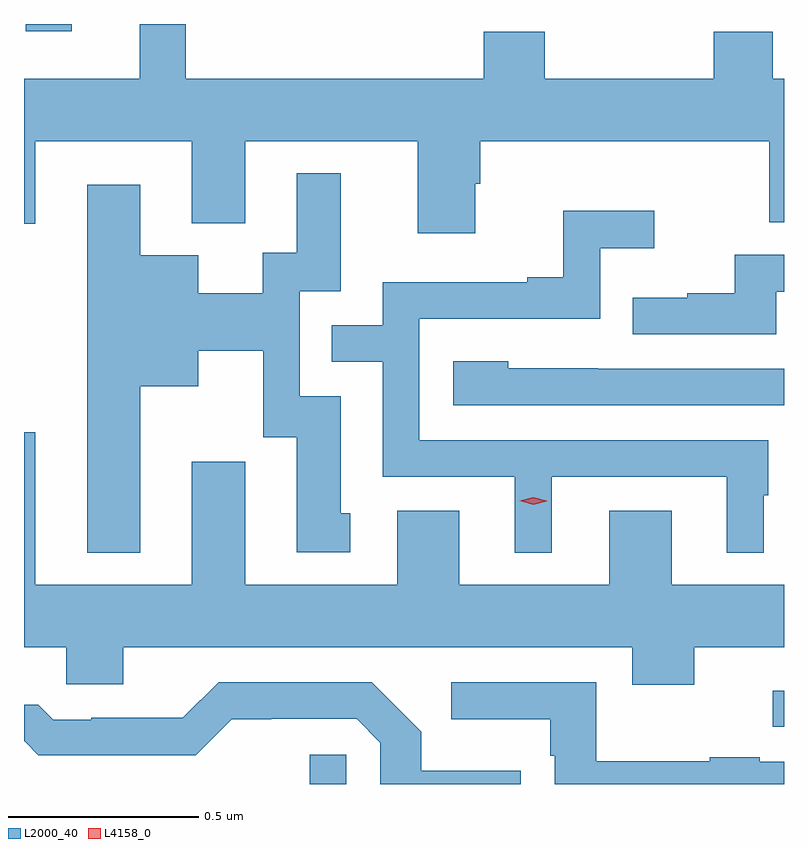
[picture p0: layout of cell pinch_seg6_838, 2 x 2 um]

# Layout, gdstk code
import gdstk
lib = gdstk.Library(unit=1e-6, precision=1e-09)
def R(c, l, rs):  # rectangles x0, y0, x1, y1
    for r in rs: c.add(gdstk.rectangle(r[:2], r[2:], *l))
def P(c, l, *ps):  # polygons
    for p in ps: c.add(gdstk.Polygon(p, *l))
L2000_40 = (2000, 40)
L4158_0 = (4158, 0)

pinch_seg6_838 = lib.new_cell('pinch_seg6_838')
R(pinch_seg6_838, L2000_40, [(219.519,972.284,219.615,972.361), (220.737,972.435,220.767,972.529), (218.772,974.265,218.893,974.284)])
P(pinch_seg6_838, L2000_40, [(220.728,973.762),(220.767,973.762),(220.767,974.14),(220.737,974.14),(220.737,974.264),(220.582,974.264),(220.582,974.14),(220.137,974.14),(220.137,974.264),(219.977,974.264),(219.977,974.14),(219.193,974.14),(219.193,974.284),(219.071,974.284),(219.071,974.14),(218.767,974.14),(218.767,973.758),(218.797,973.758),(218.797,973.976),(219.209,973.976),(219.209,973.76),(219.349,973.76),(219.349,973.976),(219.803,973.976),(219.803,973.734),(219.955,973.734),(219.955,973.863),(219.968,973.863),(219.968,973.976),(220.728,973.976)],
  [(219.073,973.331),(219.226,973.331),(219.226,973.424),(219.396,973.424),(219.396,973.197),(219.485,973.197),(219.485,972.894),(219.625,972.894),(219.625,972.996),(219.601,972.996),(219.601,973.305),(219.492,973.305),(219.492,973.581),(219.601,973.581),(219.601,973.891),(219.485,973.891),(219.485,973.682),(219.395,973.682),(219.395,973.576),(219.226,973.576),(219.226,973.675),(219.073,973.675),(219.073,973.861),(218.933,973.861),(218.933,972.893),(219.073,972.893)],
  [(220.156,973.092),(220.616,973.092),(220.616,972.893),(220.714,972.893),(220.714,973.044),(220.726,973.044),(220.726,973.188),(219.807,973.188),(219.807,973.509),(220.284,973.509),(220.284,973.694),(220.426,973.694),(220.426,973.793),(220.186,973.793),(220.186,973.618),(220.091,973.618),(220.091,973.605),(219.711,973.605),(219.711,973.491),(219.577,973.491),(219.577,973.395),(219.711,973.395),(219.711,973.092),(220.058,973.092),(220.058,972.893),(220.156,972.893)],
  [(220.747,973.58),(220.767,973.58),(220.767,973.677),(220.637,973.677),(220.637,973.576),(220.513,973.576),(220.513,973.564),(220.369,973.564),(220.369,973.467),(220.747,973.467)],
  [(220.767,973.377),(220.277,973.377),(220.277,973.378),(220.041,973.378),(220.041,973.396),(219.897,973.396),(219.897,973.281),(220.767,973.281)],
  [(220.531,972.644),(220.767,972.644),(220.767,972.808),(220.471,972.808),(220.471,973.003),(220.307,973.003),(220.307,972.808),(219.913,972.808),(219.913,973.003),(219.749,973.003),(219.749,972.808),(219.349,972.808),(219.349,973.132),(219.209,973.132),(219.209,972.808),(218.797,972.808),(218.797,973.21),(218.767,973.21),(218.767,972.644),(218.878,972.644),(218.878,972.546),(219.028,972.546),(219.028,972.644),(220.367,972.644),(220.367,972.545),(220.531,972.545)],
  [(220.767,972.342),(220.703,972.342),(220.703,972.355),(220.571,972.355),(220.571,972.344),(220.273,972.344),(220.273,972.552),(219.891,972.552),(219.891,972.455),(220.152,972.455),(220.152,972.359),(220.164,972.359),(220.164,972.284),(220.767,972.284)],
  [(220.074,972.319),(219.813,972.319),(219.813,972.422),(219.682,972.552),(219.279,972.552),(219.185,972.458),(218.944,972.458),(218.944,972.453),(218.844,972.453),(218.805,972.493),(218.767,972.493),(218.767,972.396),(218.769,972.396),(218.805,972.36),(219.219,972.36),(219.314,972.455),(219.418,972.455),(219.418,972.456),(219.642,972.456),(219.705,972.393),(219.705,972.284),(220.074,972.284)])
P(pinch_seg6_838, L4158_0, [(220.107,973.019),(220.071,973.03),(220.071,973.03),(220.071,973.03),(220.107,973.039),(220.143,973.029),(220.143,973.028),(220.143,973.028)])

lib.write_gds('pinch_seg6_838.gds')
